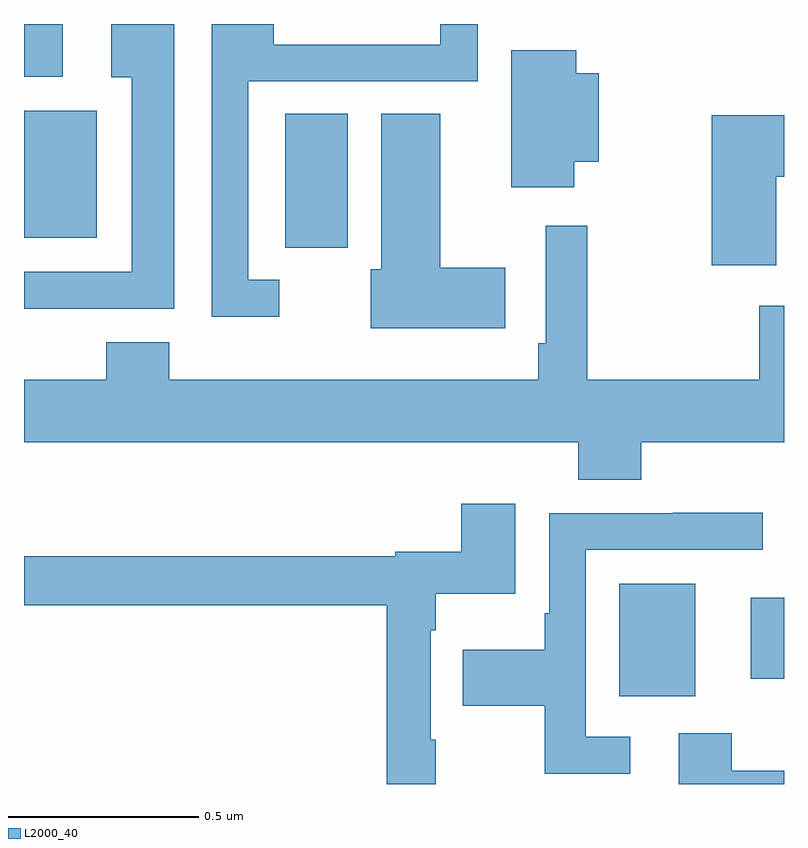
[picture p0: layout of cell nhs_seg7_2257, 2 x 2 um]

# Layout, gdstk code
import gdstk
lib = gdstk.Library(unit=1e-6, precision=1e-09)
def R(c, l, rs):  # rectangles x0, y0, x1, y1
    for r in rs: c.add(gdstk.rectangle(r[:2], r[2:], *l))
def P(c, l, *ps):  # polygons
    for p in ps: c.add(gdstk.Polygon(p, *l))
L2000_40 = (2000, 40)

nhs_seg7_2257 = lib.new_cell('nhs_seg7_2257')
R(nhs_seg7_2257, L2000_40, [(143.567,1049.231,143.767,1049.527), (143.912,1049.277,144,1049.49), (142.688,1050.411,142.852,1050.764), (142,1050.437,142.192,1050.772), (142,1050.861,142.102,1051)])
P(nhs_seg7_2257, L2000_40, [(142.672,1050.327),(142.59,1050.327),(142.59,1050.849),(143.194,1050.849),(143.194,1051),(143.096,1051),(143.096,1050.945),(142.657,1050.945),(142.657,1051),(142.494,1051),(142.494,1050.23),(142.672,1050.23)],
  [(142.396,1051),(142.229,1051),(142.229,1050.86),(142.283,1050.86),(142.283,1050.348),(142,1050.348),(142,1050.251),(142.396,1050.251)],
  [(143.448,1050.638),(143.512,1050.638),(143.512,1050.871),(143.453,1050.871),(143.453,1050.931),(143.282,1050.931),(143.282,1050.57),(143.448,1050.57)],
  [(143.266,1050.358),(143.095,1050.358),(143.095,1050.764),(142.94,1050.764),(142.94,1050.354),(142.913,1050.354),(142.913,1050.2),(143.266,1050.2)],
  [(143.98,1050.598),(144,1050.598),(144,1050.76),(143.81,1050.76),(143.81,1050.365),(143.98,1050.365)],
  [(143.624,1049.9),(144,1049.9),(144,1050.259),(143.935,1050.259),(143.935,1050.064),(143.482,1050.064),(143.482,1050.469),(143.373,1050.469),(143.373,1050.16),(143.353,1050.16),(143.353,1050.064),(142.382,1050.064),(142.382,1050.163),(142.217,1050.163),(142.217,1050.064),(142,1050.064),(142,1049.9),(143.459,1049.9),(143.459,1049.801),(143.624,1049.801)],
  [(143.083,1049.117),(143.07,1049.117),(143.07,1049.405),(143.083,1049.405),(143.083,1049.501),(143.293,1049.501),(143.293,1049.737),(143.15,1049.737),(143.15,1049.611),(142.977,1049.611),(142.977,1049.599),(142,1049.599),(142,1049.47),(142.954,1049.47),(142.954,1049),(143.083,1049)],
  [(143.596,1049.124),(143.478,1049.124),(143.478,1049.616),(143.944,1049.616),(143.944,1049.714),(143.707,1049.714),(143.707,1049.712),(143.382,1049.712),(143.382,1049.449),(143.37,1049.449),(143.37,1049.353),(143.155,1049.353),(143.155,1049.206),(143.37,1049.206),(143.37,1049.027),(143.596,1049.027)],
  [(144,1049.035),(143.863,1049.035),(143.863,1049.134),(143.723,1049.134),(143.723,1049),(144,1049)])

lib.write_gds('nhs_seg7_2257.gds')
